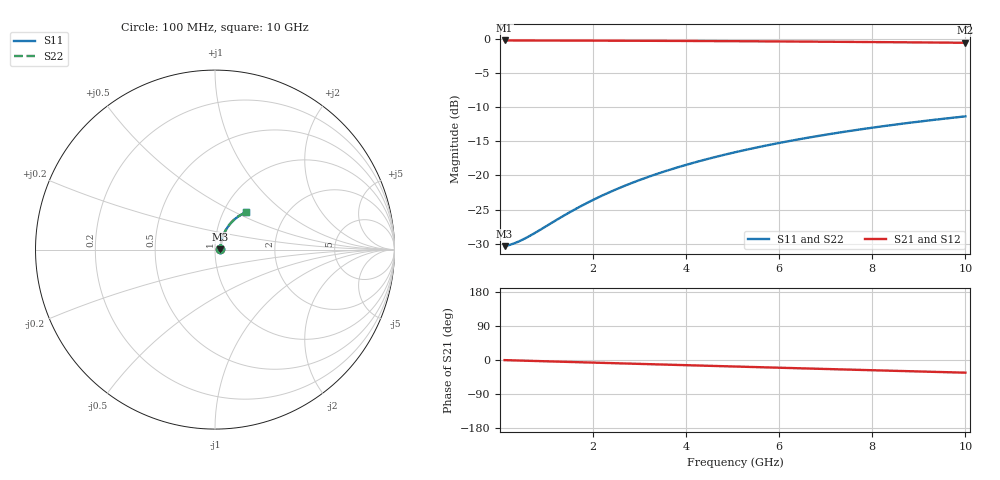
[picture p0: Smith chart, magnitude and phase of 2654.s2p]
# Hz S RI R 50.00
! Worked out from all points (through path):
!   100 points, 100 MHz to 10 GHz, reference 50 ohm
!   highest |S21| = -0.27 dB at 100 MHz (marker M1); lowest = -0.6 dB at 10 GHz (marker M2)
!   group delay of S21, straight-line fit = 9.31 ps
!   lowest |S11| = -30.3 dB at 100 MHz (marker M3), VSWR 1.06, Z = 53.1 + j0.292 ohm
!   |S11| at or under -10 dB: start of sweep to end of sweep
!   |S22| runs from -30.3 to -11.4 dB; largest |S21 - S12| = 0
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1e8  0.0303 0.00274  0.9697 -0.00581  0.9697 -0.00581  0.0303 0.00274
2e8  0.0305 0.00549  0.9695 -0.0116  0.9695 -0.0116  0.0305 0.00549
3e8  0.0307 0.00822  0.9692 -0.0174  0.9692 -0.0174  0.0307 0.00822
4e8  0.031 0.011  0.9689 -0.0232  0.9689 -0.0232  0.031 0.011
6e8  0.0315 0.0164  0.9683 -0.0348  0.9683 -0.0348  0.0315 0.0164
8e8  0.0321 0.0219  0.9676 -0.0464  0.9676 -0.0464  0.0321 0.0219
1.4e9  0.0346 0.0381  0.9644 -0.081  0.9644 -0.081  0.0346 0.0381
1.8e9  0.0369 0.0488  0.9615 -0.104  0.9615 -0.104  0.0369 0.0488
2.2e9  0.0396 0.0593  0.958 -0.1268  0.958 -0.1268  0.0396 0.0593
2.6e9  0.0429 0.0697  0.9538 -0.1495  0.9538 -0.1495  0.0429 0.0697
3e9  0.0466 0.0799  0.949 -0.172  0.949 -0.172  0.0466 0.0799
3.4e9  0.0508 0.0899  0.9436 -0.1942  0.9436 -0.1942  0.0508 0.0899
3.8e9  0.0554 0.0997  0.9376 -0.2163  0.9376 -0.2163  0.0554 0.0997
4.2e9  0.0605 0.1092  0.9309 -0.2381  0.9309 -0.2381  0.0605 0.1092
4.6e9  0.066 0.1184  0.9237 -0.2596  0.9237 -0.2596  0.066 0.1184
5.1e9  0.0735 0.1296  0.9139 -0.286  0.9139 -0.286  0.0735 0.1296
5.9e9  0.0868 0.1463  0.8964 -0.3273  0.8964 -0.3273  0.0868 0.1463
6.7e9  0.1014 0.1616  0.8768 -0.3671  0.8768 -0.3671  0.1014 0.1616
7.5e9  0.1173 0.1754  0.8554 -0.4054  0.8554 -0.4054  0.1173 0.1754
8.4e9  0.1364 0.1889  0.8292 -0.4465  0.8292 -0.4465  0.1364 0.1889
9.2e9  0.1543 0.1991  0.8043 -0.4812  0.8043 -0.4812  0.1543 0.1991
1e10  0.1729 0.2076  0.778 -0.5141  0.778 -0.5141  0.1729 0.2076
